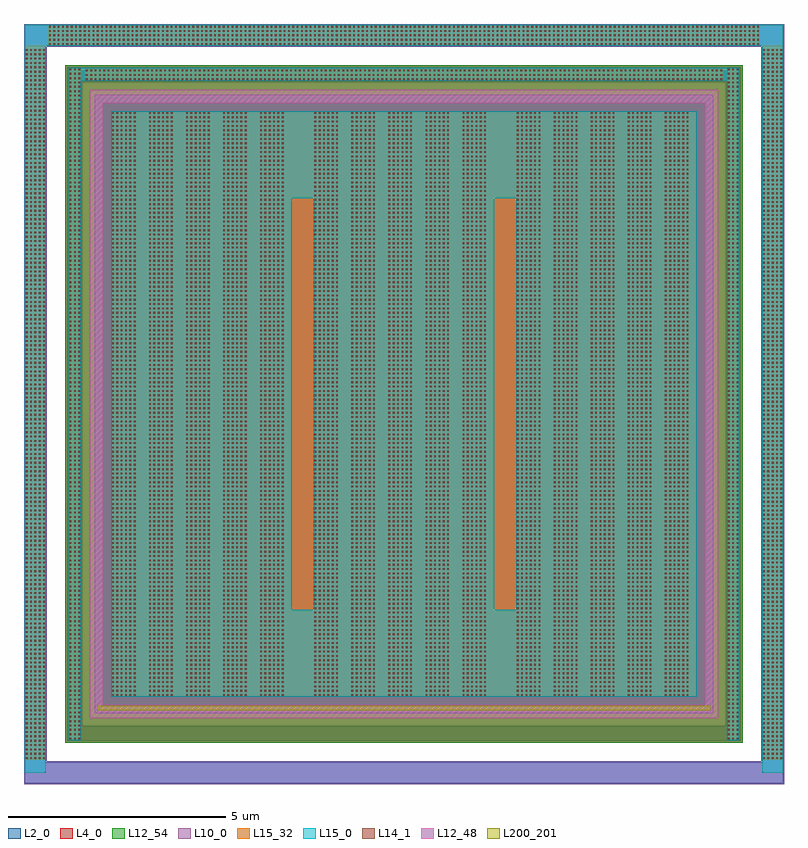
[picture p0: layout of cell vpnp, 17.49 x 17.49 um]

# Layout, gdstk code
import gdstk
lib = gdstk.Library(unit=1e-6, precision=1e-09)
def R(c, l, rs):  # rectangles x0, y0, x1, y1
    for r in rs: c.add(gdstk.rectangle(r[:2], r[2:], *l))
def A(c, l, x, y, w, h, nx, ny, dx, dy):  # array of equal rectangles
    R(c, l, [(x+i*dx, y+j*dy, x+i*dx+w, y+j*dy+h) for i in range(nx) for j in range(ny)])
L2_0 = (2, 0)
L4_0 = (4, 0)
L10_0 = (10, 0)
L12_48 = (12, 48)
L12_54 = (12, 54)
L14_1 = (14, 1)
L15_0 = (15, 0)
L15_32 = (15, 32)
L200_201 = (200, 201)

vpnp = lib.new_cell('vpnp')
R(vpnp, L2_0, [(-15.229,-7.259,2.223,-6.779), (-15.229,-6.779,-14.749,9.713), (1.743,-6.779,2.223,9.713), (-14.249,-6.279,1.243,-5.939), (-14.249,-5.939,-13.909,8.873), (0.903,-5.939,1.243,8.873), (-13.553,-5.583,0.547,8.517), (-14.249,8.873,1.243,9.213), (-15.229,9.713,2.223,10.193)])
R(vpnp, L4_0, [(-14.305,-6.335,1.299,9.269)])
R(vpnp, L10_0, [(-15.25,-7.28,2.244,-6.758), (-15.25,-6.758,-14.728,9.692), (1.722,-6.758,2.244,9.692), (-13.623,-5.653,0.617,8.587), (-15.25,9.692,2.244,10.214)])
R(vpnp, L12_48, [(-13.734,-5.764,0.728,-5.458), (-13.734,-5.458,-13.428,8.392), (0.422,-5.458,0.728,8.392), (-13.734,8.392,0.728,8.698)])
R(vpnp, L12_54, [(-14.305,-6.335,1.299,9.269)])
A(vpnp, L14_1, -15.209, -6.703, 0.04, 0.04, 5, 164, 0.1, 0.1)
A(vpnp, L14_1, 1.763, -6.703, 0.04, 0.04, 5, 164, 0.1, 0.1)
A(vpnp, L14_1, -14.199, -6.253, 0.04, 0.04, 3, 155, 0.1, 0.1)
A(vpnp, L14_1, 0.953, -6.253, 0.04, 0.04, 3, 155, 0.1, 0.1)
A(vpnp, L14_1, -13.223, -5.253, 0.04, 0.04, 6, 135, 0.1, 0.1)
A(vpnp, L14_1, -12.371, -5.253, 0.04, 0.04, 6, 135, 0.1, 0.1)
A(vpnp, L14_1, -11.519, -5.253, 0.04, 0.04, 6, 135, 0.1, 0.1)
A(vpnp, L14_1, -10.667, -5.253, 0.04, 0.04, 6, 135, 0.1, 0.1)
A(vpnp, L14_1, -9.815, -5.253, 0.04, 0.04, 6, 135, 0.1, 0.1)
A(vpnp, L14_1, -8.564, -5.253, 0.04, 0.04, 6, 135, 0.1, 0.1)
A(vpnp, L14_1, -7.712, -5.253, 0.04, 0.04, 6, 135, 0.1, 0.1)
A(vpnp, L14_1, -6.86, -5.253, 0.04, 0.04, 6, 135, 0.1, 0.1)
A(vpnp, L14_1, -6.008, -5.253, 0.04, 0.04, 6, 135, 0.1, 0.1)
A(vpnp, L14_1, -5.156, -5.253, 0.04, 0.04, 6, 135, 0.1, 0.1)
A(vpnp, L14_1, -3.905, -5.253, 0.04, 0.04, 6, 135, 0.1, 0.1)
A(vpnp, L14_1, -3.053, -5.253, 0.04, 0.04, 6, 135, 0.1, 0.1)
A(vpnp, L14_1, -2.201, -5.253, 0.04, 0.04, 6, 135, 0.1, 0.1)
A(vpnp, L14_1, -1.349, -5.253, 0.04, 0.04, 6, 135, 0.1, 0.1)
A(vpnp, L14_1, -0.497, -5.253, 0.04, 0.04, 6, 135, 0.1, 0.1)
A(vpnp, L14_1, -13.823, 8.923, 0.04, 0.04, 147, 3, 0.1, 0.1)
A(vpnp, L14_1, -14.673, 9.733, 0.04, 0.04, 164, 5, 0.1, 0.1)
A(vpnp, L15_0, -13.241, -3.271, 4.158, 9.476, 3, 1, 4.659, 0)
R(vpnp, L15_0, [(-15.227,-7.019,-14.751,10.191), (1.745,-7.019,2.221,10.191), (-14.217,-6.271,-13.941,9.205), (0.935,-6.271,1.211,9.205), (-13.241,-5.271,0.235,-3.271), (-13.241,6.205,0.235,8.205), (-13.941,8.905,0.935,9.205), (-14.751,9.715,1.745,10.191)])
R(vpnp, L15_32, [(-15.227,-6.721,-14.751,9.715), (1.745,-6.721,2.221,9.715), (-14.217,-6.271,-13.941,9.205), (0.935,-6.271,1.211,9.205), (-13.241,-5.271,0.235,8.205), (-13.841,8.905,0.835,9.181), (-14.691,9.715,1.685,10.191)])
R(vpnp, L200_201, [(-13.553,-5.583,0.547,-5.483)])

lib.write_gds('vpnp.gds')
